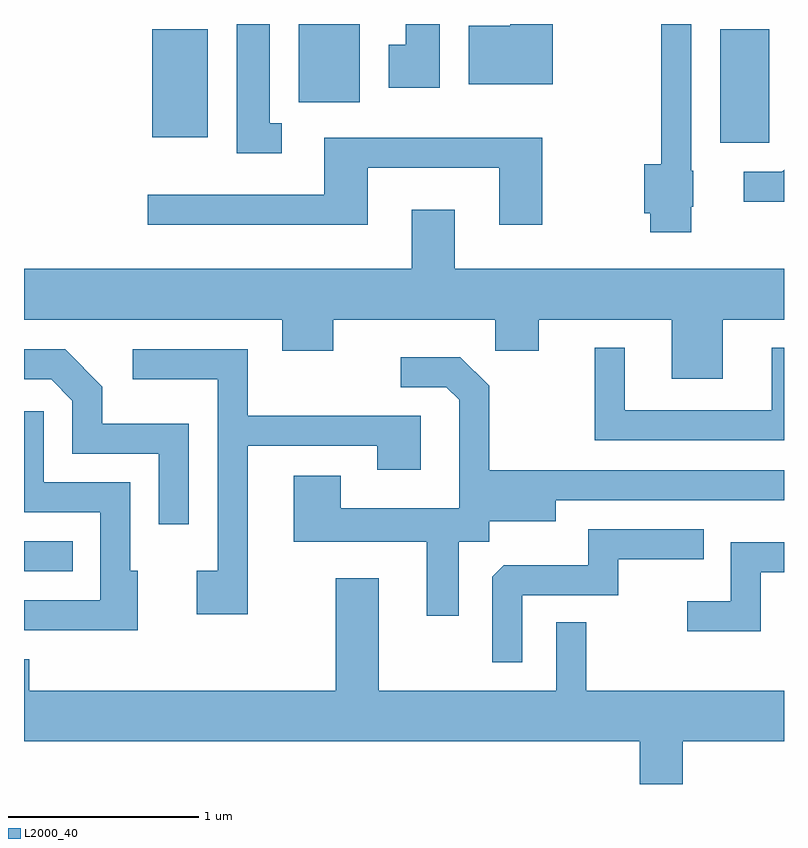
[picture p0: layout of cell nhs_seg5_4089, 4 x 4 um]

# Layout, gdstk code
import gdstk
lib = gdstk.Library(unit=1e-6, precision=1e-09)
def R(c, l, rs):  # rectangles x0, y0, x1, y1
    for r in rs: c.add(gdstk.rectangle(r[:2], r[2:], *l))
def P(c, l, *ps):  # polygons
    for p in ps: c.add(gdstk.Polygon(p, *l))
L2000_40 = (2000, 40)

nhs_seg5_4089 = lib.new_cell('nhs_seg5_4089')
R(nhs_seg5_4089, L2000_40, [(305.611,1513.191,305.868,1513.349), (309.276,1515.446,309.534,1516.044), (306.286,1515.476,306.579,1516.044), (307.056,1515.661,307.379,1516.072)])
P(nhs_seg5_4089, L2000_40, [(306.968,1515.549),(306.904,1515.549),(306.904,1516.072),(306.731,1516.072),(306.731,1515.391),(306.968,1515.391)],
  [(307.799,1516.072),(307.621,1516.072),(307.621,1515.964),(307.531,1515.964),(307.531,1515.736),(307.799,1515.736)],
  [(309.124,1515.11),(309.134,1515.11),(309.134,1515.3),(309.124,1515.3),(309.124,1516.072),(308.966,1516.072),(308.966,1515.334),(308.876,1515.334),(308.876,1515.076),(308.906,1515.076),(308.906,1514.976),(309.124,1514.976)],
  [(308.394,1516.072),(308.17,1516.072),(308.17,1516.064),(307.951,1516.064),(307.951,1515.756),(308.394,1515.756)],
  [(307.419,1515.316),(308.111,1515.316),(308.111,1515.016),(308.339,1515.016),(308.339,1515.474),(307.191,1515.474),(307.191,1515.174),(306.263,1515.174),(306.263,1515.016),(307.419,1515.016)],
  [(309.611,1515.306),(309.599,1515.294),(309.398,1515.294),(309.398,1515.136),(309.611,1515.136)],
  [(309.289,1514.516),(309.611,1514.516),(309.611,1514.784),(307.879,1514.784),(307.879,1515.094),(307.651,1515.094),(307.651,1514.784),(305.611,1514.784),(305.611,1514.516),(306.971,1514.516),(306.971,1514.351),(307.239,1514.351),(307.239,1514.516),(308.091,1514.516),(308.091,1514.351),(308.319,1514.351),(308.319,1514.516),(309.021,1514.516),(309.021,1514.206),(309.289,1514.206)],
  [(309.611,1514.368),(309.546,1514.368),(309.546,1514.039),(308.774,1514.039),(308.774,1514.368),(308.616,1514.368),(308.616,1513.881),(309.611,1513.881)],
  [(306.479,1513.969),(306.024,1513.969),(306.024,1514.162),(305.827,1514.359),(305.611,1514.359),(305.611,1514.201),(305.754,1514.201),(305.866,1514.089),(305.866,1513.811),(306.321,1513.811),(306.321,1513.438),(306.479,1513.438)],
  [(306.789,1513.851),(307.471,1513.851),(307.471,1513.726),(307.699,1513.726),(307.699,1514.009),(306.789,1514.009),(306.789,1514.359),(306.183,1514.359),(306.183,1514.201),(306.631,1514.201),(306.631,1513.194),(306.521,1513.194),(306.521,1512.966),(306.789,1512.966)],
  [(307.899,1513.346),(308.059,1513.346),(308.059,1513.456),(308.409,1513.456),(308.409,1513.566),(309.611,1513.566),(309.611,1513.724),(308.059,1513.724),(308.059,1514.167),(307.907,1514.319),(307.593,1514.319),(307.593,1514.161),(307.834,1514.161),(307.901,1514.094),(307.901,1513.524),(307.279,1513.524),(307.279,1513.694),(307.031,1513.694),(307.031,1513.346),(307.731,1513.346),(307.731,1512.958),(307.899,1512.958)],
  [(306.209,1513.194),(306.169,1513.194),(306.169,1513.659),(305.714,1513.659),(305.714,1514.033),(305.611,1514.033),(305.611,1513.501),(306.011,1513.501),(306.011,1513.039),(305.611,1513.039),(305.611,1512.881),(306.209,1512.881)],
  [(308.234,1513.066),(308.739,1513.066),(308.739,1513.256),(309.188,1513.256),(309.188,1513.414),(308.581,1513.414),(308.581,1513.224),(308.137,1513.224),(308.076,1513.164),(308.076,1512.713),(308.234,1512.713)],
  [(309.489,1513.186),(309.611,1513.186),(309.611,1513.344),(309.331,1513.344),(309.331,1513.034),(309.103,1513.034),(309.103,1512.876),(309.489,1512.876)],
  [(309.079,1512.296),(309.611,1512.296),(309.611,1512.564),(308.569,1512.564),(308.569,1512.923),(308.411,1512.923),(308.411,1512.564),(307.479,1512.564),(307.479,1513.154),(307.251,1513.154),(307.251,1512.564),(305.639,1512.564),(305.639,1512.729),(305.611,1512.729),(305.611,1512.296),(308.851,1512.296),(308.851,1512.072),(309.079,1512.072)])

lib.write_gds('nhs_seg5_4089.gds')
